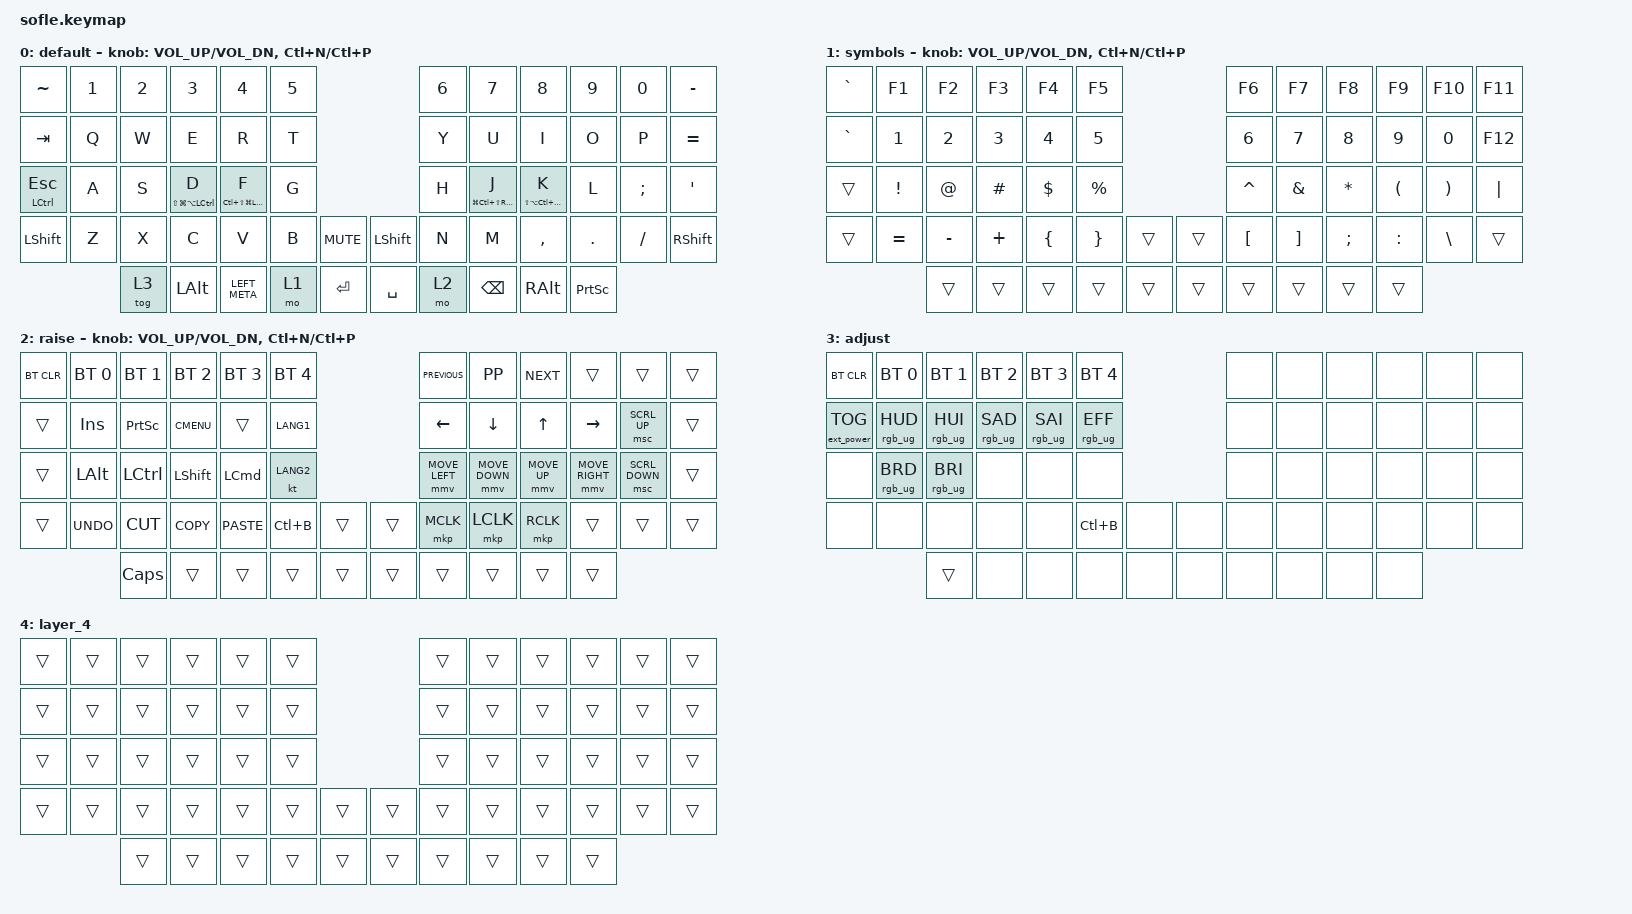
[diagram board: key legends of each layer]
/*
 * Copyright (c) 2020 The ZMK Contributors
 *
 * SPDX-License-Identifier: MIT
 */

#include <behaviors.dtsi>
#include <dt-bindings/zmk/bt.h>
#include <dt-bindings/zmk/ext_power.h>
#include <dt-bindings/zmk/keys.h>
#include <dt-bindings/zmk/pointing.h>
#include <dt-bindings/zmk/rgb.h>

#define BASE 0
#define LOWER 1
#define RAISE 2
#define ADJUST 3

&mt {
    quick-tap-ms = <175>;
    require-prior-idle-ms = <125>;
    flavor = "tap-preferred";
};

/ {
    // Activate ADJUST layer by pressing raise and lower

    conditional_layers { compatible = "zmk,conditional-layers"; };

    keymap {
        compatible = "zmk,keymap";

        default_layer {
            display-name = "default";

            // ------------------------------------------------------------------------------------------------------------
            // |   `   |  1  |  2  |  3   |  4   |  5   |                   |  6   |  7    |  8    |  9   |   0   |       |
            // |  ESC  |  Q  |  W  |  E   |  R   |  T   |                   |  Y   |  U    |  I    |  O   |   P   | BKSPC |
            // |  TAB  |  A  |  S  |  D   |  F   |  G   |                   |  H   |  J    |  K    |  L   |   ;   |   '   |
            // | SHIFT |  Z  |  X  |  C   |  V   |  B   |  MUTE  |  |       |  N   |  M    |  ,    |  .   |   /   | SHIFT |
            //               | GUI | ALT  | CTRL | LOWER|  ENTER |  | SPACE | RAISE| CTRL  | ALT   | GUI  |

            bindings = <
&kp TILDE         &kp N1  &kp N2  &kp N3                   &kp N4                  &kp N5                                &kp N6  &kp N7                   &kp N8                           &kp N9           &kp N0    &kp MINUS
&kp TAB           &kp Q   &kp W   &kp E                    &kp R                   &kp T                                 &kp Y   &kp U                    &kp I                            &kp O            &kp P     &kp EQUAL
&mt LCTRL ESCAPE  &kp A   &kp S   &mt LS(LG(LA(LCTRL))) D  &mt LC(LS(LG(LCMD))) F  &kp G                                 &kp H   &mt LG(LC(LS(RMETA))) J  &mt LS(LA(LC(LG(LEFT_META)))) K  &kp L            &kp SEMI  &kp SQT
&kp LSHFT         &kp Z   &kp X   &kp C                    &kp V                   &kp B   &kp C_MUTE    &kp LEFT_SHIFT  &kp N   &kp M                    &kp COMMA                        &kp DOT          &kp FSLH  &kp RSHFT
                          &tog 3  &kp LALT                 &kp LEFT_META           &mo 1   &kp RET       &kp SPACE       &mo 2   &kp BACKSPACE            &kp RALT                         &kp PRINTSCREEN
            >;

            sensor-bindings =
                <&inc_dec_kp C_VOL_UP C_VOL_DN>,
                <&inc_dec_kp LC(N) LC(P)>;
        };

        lower_layer {
            display-name = "symbols";

            // TODO: Some binds are waiting for shifted keycode support.
            // ------------------------------------------------------------------------------------------------------------
            // |       |  F1 |  F2 |  F3  |  F4  |  F5  |                   |  F6  |  F7   |  F8   |  F9  |  F10  |  F11  |
            // |   `   |  1  |  2  |  3   |  4   |  5   |                   |  6   |  7    |  8    |  9   |   0   |  F12  |
            // |       |  !  |  @  |  #   |  $   |  %   |                   |  ^   |  &    |  *    |  (   |   )   |   |   |
            // |       |  =  |  -  |  +   |  {   |  }   |        |  |       |  [   |  ]    |  ;    |  :   |   \   |       |
            //               |     |      |      |      |        |  |       |      |       |       |      |

            bindings = <
&kp GRAVE  &kp F1     &kp F2     &kp F3    &kp F4    &kp F5                       &kp F6     &kp F7    &kp F8     &kp F9     &kp F10   &kp F11
&kp GRAVE  &kp N1     &kp N2     &kp N3    &kp N4    &kp N5                       &kp N6     &kp N7    &kp N8     &kp N9     &kp N0    &kp F12
&trans     &kp EXCL   &kp AT     &kp HASH  &kp DLLR  &kp PRCNT                    &kp CARET  &kp AMPS  &kp ASTRK  &kp LPAR   &kp RPAR  &kp PIPE
&trans     &kp EQUAL  &kp MINUS  &kp PLUS  &kp LBRC  &kp RBRC   &trans    &trans  &kp LBKT   &kp RBKT  &kp SEMI   &kp COLON  &kp BSLH  &trans
                      &trans     &trans    &trans    &trans     &trans    &trans  &trans     &trans    &trans     &trans
            >;

            sensor-bindings =
                <&inc_dec_kp C_VOL_UP C_VOL_DN>,
                <&inc_dec_kp LC(N) LC(P)>;
        };

        raise_layer {
            display-name = "raise";

            // ------------------------------------------------------------------------------------------------------------
            // | BTCLR | BT1  | BT2  |  BT3  |  BT4  |  BT5 |                |      |      |       |      |       |       |
            // |       | INS  | PSCR | GUI   |       |      |                | PGUP |      |   ^   |      |       |       |
            // |       | ALT  | CTRL | SHIFT |       | CAPS |                | PGDN |   <- |   v   |  ->  |  DEL  | BKSPC |
            // |       | UNDO | CUT  | COPY  | PASTE |      |      |  |      |      |      |       |      |       |       |
            //                |      |       |       |      |      |  |      |      |      |       |      |

            bindings = <
&bt BT_CLR  &bt BT_SEL 0  &bt BT_SEL 1  &bt BT_SEL 2  &bt BT_SEL 3      &bt BT_SEL 4                    &kp K_PREVIOUS  &kp K_PP        &kp K_NEXT    &trans           &trans          &trans
&trans      &kp INS       &kp PSCRN     &kp K_CMENU   &trans            &kp LANG1                       &kp LEFT        &kp DOWN        &kp UP        &kp RIGHT        &msc SCRL_UP    &trans
&trans      &kp LALT      &kp LCTRL     &kp LSHFT     &kp LEFT_COMMAND  &kt LANG2                       &mmv MOVE_LEFT  &mmv MOVE_DOWN  &mmv MOVE_UP  &mmv MOVE_RIGHT  &msc SCRL_DOWN  &trans
&trans      &kp K_UNDO    &kp K_CUT     &kp K_COPY    &kp K_PASTE       &kp LC(B)     &trans    &trans  &mkp MCLK       &mkp LCLK       &mkp RCLK     &trans           &trans          &trans
                          &kp CAPS      &trans        &trans            &trans        &trans    &trans  &trans          &trans          &trans        &trans
            >;

            sensor-bindings =
                <&inc_dec_kp C_VOL_UP C_VOL_DN>,
                <&inc_dec_kp LC(N) LC(P)>;
        };

        adjust_layer {
            // ----------------------------------------------------------------------------------------------------------------------------
            // | BTCLR  |  BT1    |  BT2    |   BT3   |   BT4   |   BT5   |                  |      |      |       |      |       |       |
            // | EXTPWR | RGB_HUD | RGB_HUI | RGB_SAD | RGB_SAI | RGB_EFF |                  |      |      |       |      |       |       |
            // |        | RGB_BRD | RGB_BRI |         |         |         |                  |      |      |       |      |       |       |
            // |        |         |         |         |         |         | RGB_TOG | |      |      |      |       |      |       |       |
            //                    |         |         |         |         |         | |      |      |      |       |      |

            display-name = "adjust";
            bindings = <
&bt BT_CLR         &bt BT_SEL 0     &bt BT_SEL 1     &bt BT_SEL 2     &bt BT_SEL 3     &bt BT_SEL 4                     &none  &none  &none  &none  &none  &none
&ext_power EP_TOG  &rgb_ug RGB_HUD  &rgb_ug RGB_HUI  &rgb_ug RGB_SAD  &rgb_ug RGB_SAI  &rgb_ug RGB_EFF                  &none  &none  &none  &none  &none  &none
&none              &rgb_ug RGB_BRD  &rgb_ug RGB_BRI  &none            &none            &none                            &none  &none  &none  &none  &none  &none
&none              &none            &none            &none            &none            &kp LC(B)        &none    &none  &none  &none  &none  &none  &none  &none
                                    &trans           &none            &none            &none            &none    &none  &none  &none  &none  &none
            >;
        };

        layer_4 {
            bindings = <
&trans  &trans  &trans  &trans  &trans  &trans                    &trans  &trans  &trans  &trans  &trans  &trans
&trans  &trans  &trans  &trans  &trans  &trans                    &trans  &trans  &trans  &trans  &trans  &trans
&trans  &trans  &trans  &trans  &trans  &trans                    &trans  &trans  &trans  &trans  &trans  &trans
&trans  &trans  &trans  &trans  &trans  &trans  &trans    &trans  &trans  &trans  &trans  &trans  &trans  &trans
                &trans  &trans  &trans  &trans  &trans    &trans  &trans  &trans  &trans  &trans
            >;
        };
    };
};
